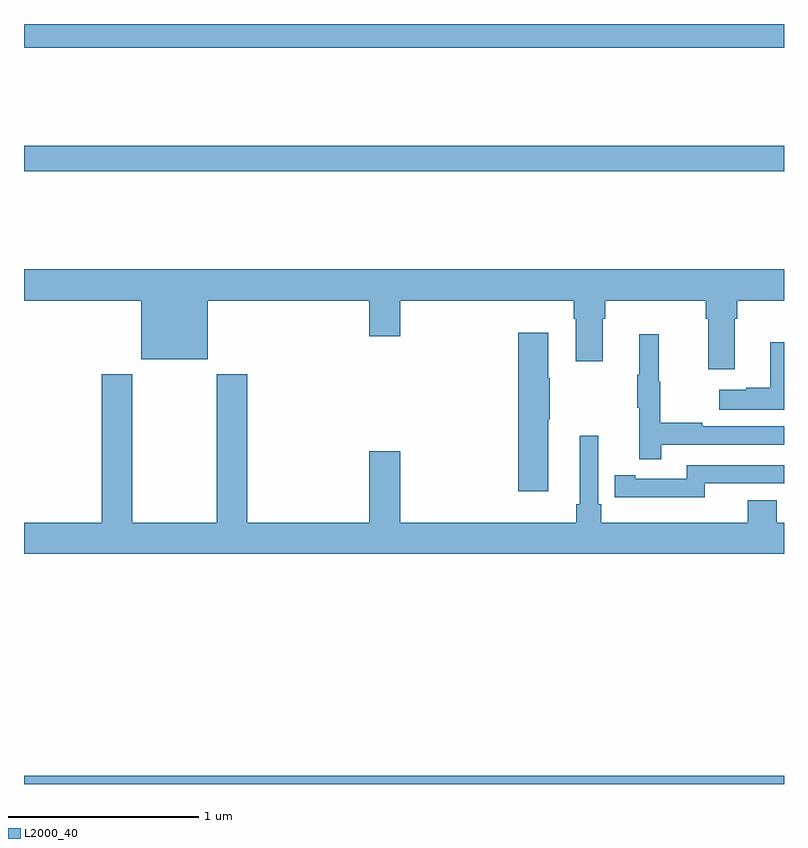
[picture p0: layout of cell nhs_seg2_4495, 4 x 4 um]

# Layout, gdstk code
import gdstk
lib = gdstk.Library(unit=1e-6, precision=1e-09)
def R(c, l, rs):  # rectangles x0, y0, x1, y1
    for r in rs: c.add(gdstk.rectangle(r[:2], r[2:], *l))
def P(c, l, *ps):  # polygons
    for p in ps: c.add(gdstk.Polygon(p, *l))
L2000_40 = (2000, 40)

nhs_seg2_4495 = lib.new_cell('nhs_seg2_4495')
R(nhs_seg2_4495, L2000_40, [(355,603.8,359,603.844), (355,607.024,359,607.16), (355,607.676,359,607.8)])
P(nhs_seg2_4495, L2000_40, [(358.741,606.248),(358.754,606.248),(358.754,606.344),(359,606.344),(359,606.508),(355,606.508),(355,606.344),(355.616,606.344),(355.616,606.035),(355.966,606.035),(355.966,606.344),(356.816,606.344),(356.816,606.156),(356.98,606.156),(356.98,606.344),(357.893,606.344),(357.893,606.248),(357.905,606.248),(357.905,606.024),(358.045,606.024),(358.045,606.248),(358.058,606.248),(358.058,606.344),(358.589,606.344),(358.589,606.248),(358.601,606.248),(358.601,605.982),(358.741,605.982)],
  [(357.76,605.719),(357.768,605.719),(357.768,605.936),(357.76,605.936),(357.76,606.175),(357.602,606.175),(357.602,605.34),(357.76,605.34)],
  [(358.355,605.586),(359,605.586),(359,605.682),(358.571,605.682),(358.571,605.702),(358.348,605.702),(358.348,605.916),(358.34,605.916),(358.34,606.166),(358.238,606.166),(358.238,605.953),(358.227,605.953),(358.227,605.779),(358.238,605.779),(358.238,605.508),(358.355,605.508)],
  [(359,606.124),(358.928,606.124),(358.928,605.885),(358.802,605.885),(358.802,605.875),(358.659,605.875),(358.659,605.771),(359,605.771)],
  [(359,605.176),(358.961,605.176),(358.961,605.293),(358.808,605.293),(358.808,605.176),(358.037,605.176),(358.037,605.272),(358.023,605.272),(358.023,605.632),(357.926,605.632),(357.926,605.272),(357.907,605.272),(357.907,605.176),(356.98,605.176),(356.98,605.551),(356.816,605.551),(356.816,605.176),(356.174,605.176),(356.174,605.956),(356.014,605.956),(356.014,605.176),(355.569,605.176),(355.569,605.956),(355.409,605.956),(355.409,605.176),(355,605.176),(355,605.012),(359,605.012)],
  [(358.584,605.382),(359,605.382),(359,605.478),(358.488,605.478),(358.488,605.406),(358.216,605.406),(358.216,605.426),(358.108,605.426),(358.108,605.31),(358.216,605.31),(358.216,605.309),(358.584,605.309)])

lib.write_gds('nhs_seg2_4495.gds')
